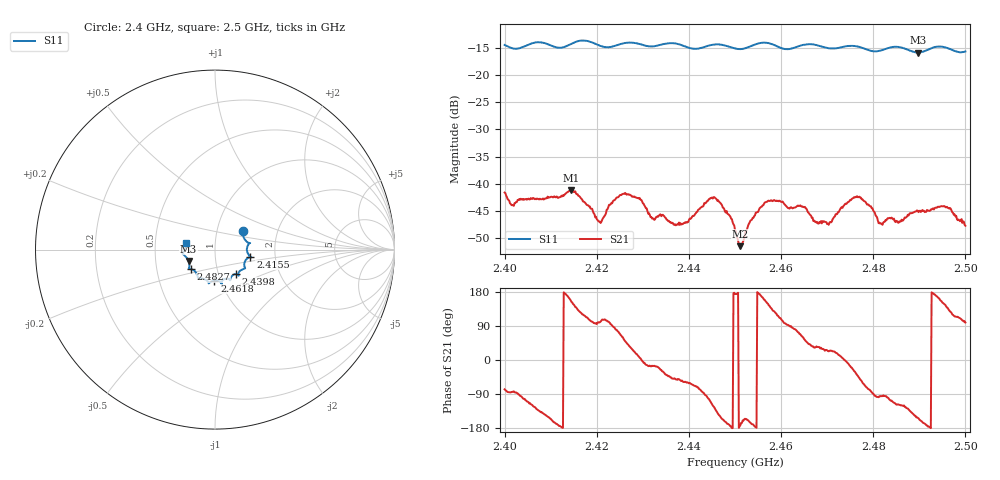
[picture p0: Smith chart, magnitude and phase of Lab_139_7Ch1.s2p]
# Hz S RI R 50
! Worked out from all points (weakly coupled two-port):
!   601 points, 2.4 GHz to 2.5 GHz, reference 50 ohm
!   highest |S21| = -41.15 dB at 2.4143 GHz (marker M1); lowest = -51.5 dB at 2.4512 GHz (marker M2)
!   lowest |S11| = -15.9 dB at 2.4897 GHz (marker M3), VSWR 1.38, Z = 36.9 - j4.84 ohm
!   |S11| at or under -10 dB: start of sweep to end of sweep
!   S12 and S22 are empty: the file has one direction only
!   S11 on the Smith chart (normalised r, x): 2.4 GHz: 1.33, +0.29; 2.4155 GHz: 1.49, -0.12; 2.4398 GHz: 1.21, -0.34; 2.4618 GHz: 0.94, -0.33; 2.4827 GHz: 0.75, -0.17; 2.5 GHz: 0.72, +0.06
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2.4e9  0.1555 0.1062  0.00182 -0.00811  0 0  0 0
2.401667e9  0.1566 0.0792  0.000617 -0.00636  0 0  0 0
2.414333e9  0.1889 -0.0311  -0.00808 0.00337  0 0  0 0
2.4155e9  0.1975 -0.0394  -0.00612 0.00534  0 0  0 0
2.416667e9  0.2022 -0.0429  -0.00402 0.00607  0 0  0 0
2.4205e9  0.18 -0.049  -0.000689 0.00444  0 0  0 0
2.425833e9  0.1668 -0.1013  0.00459 0.00667  0 0  0 0
2.433333e9  0.1298 -0.1339  0.00472 -0.00164  0 0  0 0
2.439833e9  0.1154 -0.1357  0.00224 -0.00385  0 0  0 0
2.445333e9  0.0841 -0.1699  -0.00406 -0.00634  0 0  0 0
2.45e9  0.0652 -0.1624  -0.00376 0.000377  0 0  0 0
2.451167e9  0.0522 -0.1643  -0.00265 -0.000373  0 0  0 0
2.456833e9  0.0388 -0.1932  -0.00606 0.00316  0 0  0 0
2.461833e9  -0.00355 -0.1727  2.99e-05 0.00592  0 0  0 0
2.466667e9  -0.035 -0.1879  0.00389 0.00294  0 0  0 0
2.4705e9  -0.0532 -0.1671  0.00403 0.00178  0 0  0 0
2.476667e9  -0.0959 -0.1546  0.0056 -0.00504  0 0  0 0
2.482667e9  -0.1348 -0.1086  -0.000457 -0.00462  0 0  0 0
2.483333e9  -0.1397 -0.1082  -0.000932 -0.00473  0 0  0 0
2.489667e9  -0.147 -0.0639  -0.00503 -0.0026  0 0  0 0
2.4955e9  -0.1787 -0.0176  -0.00521 0.0034  0 0  0 0
2.5e9  -0.1594 0.039  -0.000643 0.00406  0 0  0 0
